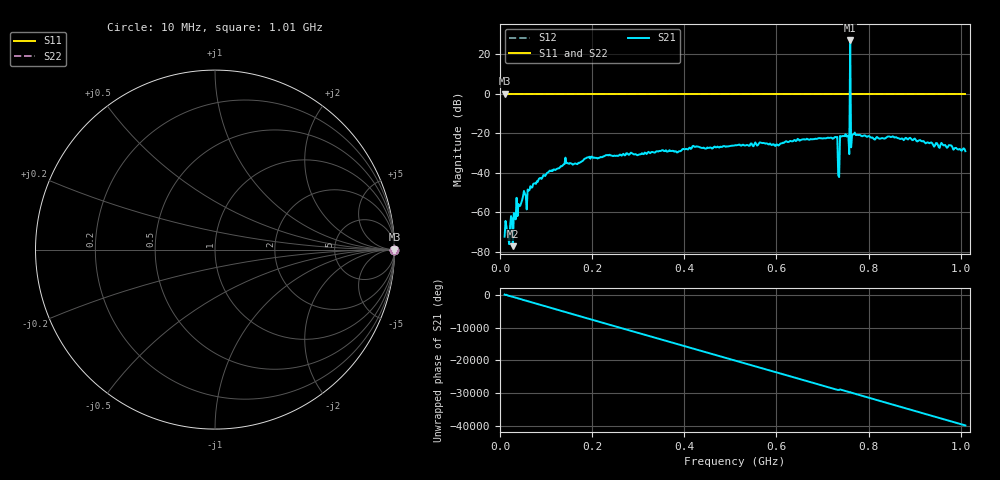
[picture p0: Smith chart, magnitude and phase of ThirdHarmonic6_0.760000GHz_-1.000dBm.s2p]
! 8/16/2025 1:24:43 AM
! C:\ANRITSUVNA\TEMP\TEMP.S2P
! CHANNEL.1
! TR.MEASUREMENT
! RAW.DATA
! RF.CORRECTION.OFF
! AVERAGING.OFF
! IF.BANDWIDTH: 5KHZ
! SWEEPTYPE:  FREQ.SWEEP(Linear)
! Reference Plane Port Info
! PORT:  PORT1  PORT2
! DISTANCE:  0  m  0  m
! TIME:  0  s  0  s
! PHASE.OFFSET:  0  deg.  0  deg.
! LOSS:  0  dB  0  dB
! REF.LOSS:  0  dB  0  dB
! REF.FREQ:  0  Hz  0  Hz
! Power Info
! POWER:  -20  dBm  -20  dBm
! EFF.POWER:  -20  dBm  -20  dBm
! SOURCE.ATTEN:  0  dB  0  dB
! TEST.ATTEN:  0  dB  0  dB
# GHZ S RI R 50.0
! FREQ.GHZ  S11RE  S11IM  S21RE  S21IM  S12RE  S12IM  S22RE  S22IM
!; PortSelection: Port_12
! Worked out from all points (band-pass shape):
!   501 points, 10 MHz to 1.01 GHz, reference 50 ohm
!   highest |S21| = 26.96 dB at 760 MHz (marker M1); lowest = -77.1 dB at 28 MHz (marker M2)
!   |S21| within 3 dB of the highest: 759.8957 MHz to 760.111 MHz (215.3 kHz wide, 0.0283 % of centre)
!   lowest |S11| = 0.0 dB at 10 MHz (marker M3)
!   |S11| at or under -10 dB: nowhere
!   |S22| runs from 0.0 to 0.0 dB; largest |S21 - S12| = 23
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0.01  1 0  -0.000218 0.000109  1 0  1 0
0.018  1 0  -0.00022 9.06e-05  1 0  1 0
0.024  1 0  0.000338 -0.000732  1 0  1 0
0.028  1 0  -0.000134 4.02e-05  1 0  1 0
0.05  1 0  0.000838 -0.00244  1 0  1 0
0.084  1 0  0.00533 0.00441  1 0  1 0
0.142  1 0  -0.0232 -0.00707  1 0  1 0
0.178  1 0  -0.0194 -0.00253  1 0  1 0
0.344  1 0  0.0307 -0.0161  1 0  1 0
0.51  1 0  -0.0343 0.0362  1 0  1 0
0.678  1 0  -0.0632 -0.0319  1 0  1 0
0.728  1 0  0.0784 -0.0199  1 0  1 0
0.732  1 0  -0.0808 -0.00449  1 0  1 0
0.738  1 0  0.0413 -0.0751  1 0  1 0
0.742  1 0  -0.0635 0.0549  1 0  1 0
0.754  1 0  0.0849 0.0186  1 0  1 0
0.756  1 0  0.0309 -0.0813  1 0  1 0
0.76  1 0  -21.65 -5.229  1 0  1 0
0.764  1 0  0.0761 -0.0482  1 0  1 0
0.766  1 0  -0.0389 -0.0852  1 0  1 0
0.844  1 0  0.0712 -0.043  1 0  1 0
1.01  1 0  0.000481 0.0353  1 0  1 0
